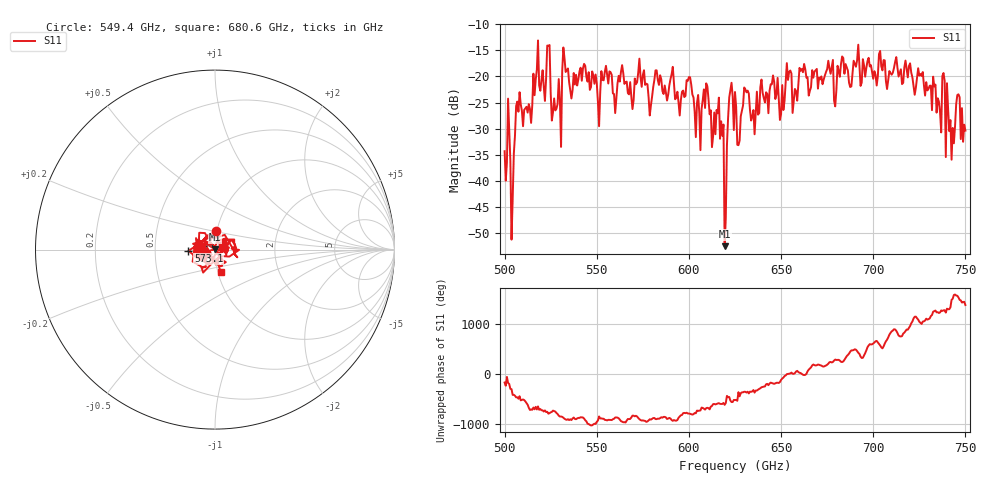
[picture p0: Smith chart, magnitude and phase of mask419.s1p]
!Created with skrf (http://scikit-rf.org).
# GHz S MA R 50.0
!freq magS11 angS11
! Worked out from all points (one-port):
!   401 points, 500 GHz to 750 GHz, reference 50 ohm
!   lowest |S11| = -52.5 dB at 619.4 GHz (marker M1), VSWR 1.00, Z = 49.9 + j0.227 ohm
!   |S11| at or under -10 dB: start of sweep to end of sweep
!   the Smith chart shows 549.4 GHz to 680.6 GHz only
!   S11 on the Smith chart (normalised r, x): 549.4 GHz: 0.99, +0.21; 573.1 GHz: 0.74, -0.01; 680.6 GHz: 1.03, -0.26
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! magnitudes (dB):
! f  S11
! 500 GHz  -34.3
! 504.4 GHz  -43.5
! 507.5 GHz  -26.7
! 513.8 GHz  -26.2
! 516.9 GHz  -20.6
! 523.8 GHz  -14.1
! 526.9 GHz  -24.2
! 531.2 GHz  -19.0
! 533.1 GHz  -19.1
! 549.4 GHz  -19.6
! 562.5 GHz  -21.0
! 568.8 GHz  -23.8
! 573.1 GHz  -16.6
! 593.8 GHz  -22.9
! 600 GHz  -20.1
! 605 GHz  -23.5
! 609.4 GHz  -21.3
! 613.1 GHz  -31.4
! 617.5 GHz  -28.6
! 619.4 GHz  -52.5
! 620.6 GHz  -33.1
! 622.5 GHz  -22.6
! 625 GHz  -23.0
! 656.2 GHz  -27.0
! 680.6 GHz  -18.0
! 687.5 GHz  -22.0
! 718.8 GHz  -20.2
! 750 GHz  -30.4
